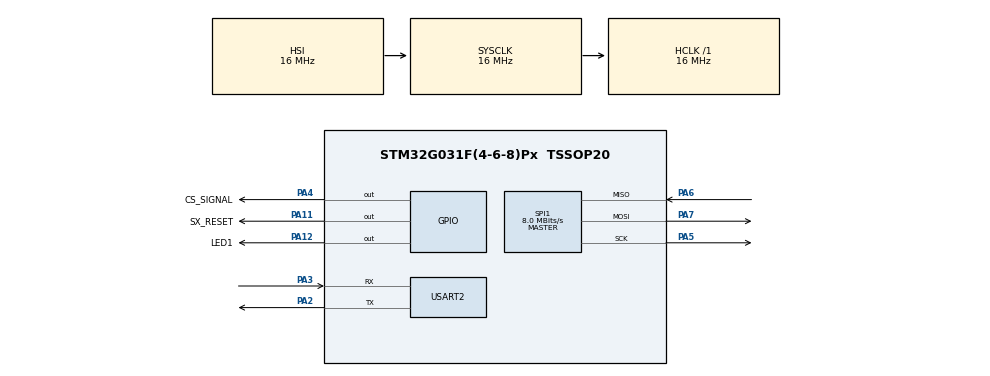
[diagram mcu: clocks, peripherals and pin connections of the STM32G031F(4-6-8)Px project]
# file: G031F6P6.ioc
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Mcu.Family=STM32G0
Mcu.Name=STM32G031F(4-6-8)Px
Mcu.Package=TSSOP20
NVIC.USART2_IRQn=true\:0\:0\:false\:false\:true\:true\:true\:true
PA11\ [PA9].GPIO_Label=SX_RESET
PA11\ [PA9].Signal=GPIO_Output
PA12\ [PA10].GPIO_Label=LED1
PA12\ [PA10].Signal=GPIO_Output
PA13.Mode=Serial_Wire
PA13.Signal=SYS_SWDIO
PA14-BOOT0.Mode=Serial_Wire
PA14-BOOT0.Signal=SYS_SWCLK
PA14-BOOT0__PA15.StandardMode=true
PA2.Mode=Asynchronous
PA2.Signal=USART2_TX
PA3.Mode=Asynchronous
PA3.Signal=USART2_RX
PA4.GPIO_Label=CS_SIGNAL
PA4.Signal=GPIO_Output
PA5.Mode=Full_Duplex_Master
PA5.Signal=SPI1_SCK
PA6.Mode=Full_Duplex_Master
PA6.Signal=SPI1_MISO
PA7.Mode=Full_Duplex_Master
PA7.Signal=SPI1_MOSI
PB0__PB1__PB2__PA8.StandardMode=true
PB3__PB4__PB5__PB6.StandardMode=true
PB7__PB8.StandardMode=true
PC14-OSC32_IN\ (PC14)__PB9.StandardMode=true
ProjectManager.HeapSize=0x200
ProjectManager.StackSize=0x400
ProjectManager.TargetToolchain=STM32CubeIDE
RCC.AHBFreq_Value=16000000
RCC.CortexFreq_Value=16000000
RCC.EXTERNAL_CLOCK_VALUE=12288000
RCC.HCLKFreq_Value=16000000
RCC.HSE_VALUE=8000000
RCC.HSI_VALUE=16000000
RCC.LSE_VALUE=32768
RCC.SYSCLKFreq_VALUE=16000000
RCC.VCOOutputFreq_Value=128000000
SPI1.CalculateBaudRate=8.0 MBits/s
SPI1.Direction=SPI_DIRECTION_2LINES
SPI1.Mode=SPI_MODE_MASTER
SPI1.VirtualType=VM_MASTER
USART2.VirtualMode-Asynchronous=VM_ASYNC
board=custom

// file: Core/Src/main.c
/* USER CODE BEGIN Header */
/**
  ******************************************************************************
  * @file           : main.c
  * @brief          : SX1255 interaktif kontrol konsolu (v7.0)
  *                   Renkli / satir-editorlu UART konsolu.
  *                   RX/TX/PA kontrolu, frekans, kazanc, register dokumu.
  *                   433 MHz Mode A, 36 MHz xtal. USART2 @ 115200 8N1
  ******************************************************************************
  */
/* USER CODE END Header */
#include "main.h"

/* USER CODE BEGIN Includes */
#include <string.h>
#include <stdlib.h>
/* USER CODE END Includes */

/* USER CODE BEGIN PD */
/* ---- SX1255 register haritasi ---- */
#define SX_MODE        0x00
#define SX_FRFH_RX     0x01
#define SX_FRFM_RX     0x02
#define SX_FRFL_RX     0x03
#define SX_FRFH_TX     0x04
#define SX_FRFM_TX     0x05
#define SX_FRFL_TX     0x06
#define SX_VERSION     0x07
#define SX_TXFE1       0x08   /* [6:4] dac_gain  [3:0] mixer_gain */
#define SX_TXFE2       0x09
#define SX_TXFE3       0x0A
#define SX_TXFE4       0x0B
#define SX_RXFE1       0x0C   /* [7:5] lna_gain  [4:1] pga_gain  [0] zin */
#define SX_RXFE2       0x0D
#define SX_RXFE3       0x0E
#define SX_IO_MAP      0x0F
#define SX_CK_SEL      0x10
#define SX_STAT        0x11
#define SX_IISM        0x12
#define SX_DIG_BRIDGE  0x13
#define SX_REG_MAX     0x13
#define SX_WRITE_FLAG  0x80

/* ---- MODE register bitleri ---- */
#define M_REF   0x01
#define M_RX    0x02
#define M_TX    0x04
#define M_DRV   0x08

/* ---- STAT register bitleri ---- */
#define S_PLL_TX 0x01
#define S_PLL_RX 0x02
#define S_XOSC   0x04

#define F_XOSC_HZ         36000000UL
#define F_MIN_HZ          400000000UL
#define F_MAX_HZ          510000000UL
#define RXBUF             96
#define STATUS_PERIOD_MS  1000
#define HEARTBEAT_MS      500

/* ---- ANSI renk kodlari ---- */
#define A_RST   "\033[0m"
#define A_BOLD  "\033[1m"
#define A_DIM   "\033[2m"
#define A_RED   "\033[91m"
#define A_GRN   "\033[92m"
#define A_YEL   "\033[93m"
#define A_CYN   "\033[96m"
#define A_MAG   "\033[95m"
/* USER CODE END PD */

SPI_HandleTypeDef hspi1;

UART_HandleTypeDef huart2;

/* USER CODE BEGIN PV */
volatile uint8_t  sx_alive    = 0;
volatile uint8_t  ver_id      = 0;
volatile uint8_t  stat_reg    = 0;
volatile uint8_t  mode_shadow = M_REF;
volatile uint8_t  mon_on      = 0;
volatile uint8_t  ansi_on     = 1;

/* Son yazilan degerlerin golgesi -> 'stat' ekraninda gostermek icin */
uint32_t f_rx_hz = 433000000UL;
uint32_t f_tx_hz = 433000000UL;
uint8_t  tx_dac  = 3;
uint8_t  tx_mix  = 15;
uint8_t  rx_lna  = 1;
uint8_t  rx_pga  = 15;

uint8_t  rx_dma[RXBUF];
char     acc[RXBUF];
volatile uint16_t acc_len = 0;
char     line[RXBUF];
volatile uint8_t  line_ready = 0;
/* USER CODE END PV */

void SystemClock_Config(void);
static void MX_GPIO_Init(void);
static void MX_SPI1_Init(void);
static void MX_USART2_UART_Init(void);
/* USER CODE BEGIN PFP */
uint8_t  sx_read(uint8_t addr);
void     sx_write(uint8_t addr, uint8_t val);
void     sx_manual_reset(void);
uint32_t sx_hz_to_frf(uint32_t hz);
void     sx_set_freq(uint8_t is_tx, uint32_t hz);
void     sx_apply_mode(void);
uint8_t  sx_bringup(void);
void     process_line(char *s);
void     print_banner(void);
void     print_help(void);
void     print_stat(void);
void     print_info(void);
void     print_prompt(void);
void     print_txgain(uint8_t dac, uint8_t mix);
void     uart_str(const char *s);
void     uart_ch(char c);
void     uart_hex(uint8_t b);
void     uart_u32(uint32_t v);
void     uart_i32(int32_t v);
void     uart_mhz(uint32_t hz);
/* USER CODE END PFP */

/* USER CODE BEGIN 0 */
static inline void SX_CS_LOW(void)  { HAL_GPIO_WritePin(CS_SIGNAL_GPIO_Port, CS_SIGNAL_Pin, GPIO_PIN_RESET); }
static inline void SX_CS_HIGH(void) { HAL_GPIO_WritePin(CS_SIGNAL_GPIO_Port, CS_SIGNAL_Pin, GPIO_PIN_SET);  }

/* ========================= UART yardimcilari ========================= */

void uart_str(const char *s) { HAL_UART_Transmit(&huart2, (uint8_t*)s, strlen(s), HAL_MAX_DELAY); }
void uart_ch(char c)         { HAL_UART_Transmit(&huart2, (uint8_t*)&c, 1, HAL_MAX_DELAY); }

/* ANSI kodunu sadece renk aciksa bas */
static void col(const char *code) { if (ansi_on) uart_str(code); }

void uart_hex(uint8_t b)
{
    const char h[] = "0123456789ABCDEF";
    char out[4] = { '0', 'x', h[b >> 4], h[b & 0x0F] };
    HAL_UART_Transmit(&huart2, (uint8_t*)out, 4, HAL_MAX_DELAY);
}
void uart_u32(uint32_t v)
{
    char tmp[12], buf[12]; uint8_t n = 0, i = 0;
    if (v == 0) { uart_str("0"); return; }
    while (v && n < 12) { tmp[n++] = (char)('0' + (v % 10)); v /= 10; }
    while (n) buf[i++] = tmp[--n];
    HAL_UART_Transmit(&huart2, (uint8_t*)buf, i, HAL_MAX_DELAY);
}
void uart_i32(int32_t v)
{
    if (v < 0) { uart_str("-"); v = -v; }
    else        uart_str("+");
    uart_u32((uint32_t)v);
}
/* 433000000 -> "433.000 MHz" */
void uart_mhz(uint32_t hz)
{
    uint32_t mhz = hz / 1000000UL;
    uint32_t khz = (hz % 1000000UL) / 1000UL;
    uart_u32(mhz);
    uart_str(".");
    if (khz < 100) uart_str("0");
    if (khz < 10)  uart_str("0");
    uart_u32(khz);
    uart_str(" MHz");
}
/* Sabit genislikte etiket: "  XOSC     : " */
static void field(const char *name)
{
    uart_str("  ");
    uart_str(name);
    uint8_t n = (uint8_t)strlen(name);
    while (n < 9) { uart_str(" "); n++; }
    uart_str(": ");
}
static void tag_ok(const char *txt)   { col(A_GRN); uart_str("[OK] "); uart_str(txt); col(A_RST); }
static void tag_bad(const char *txt)  { col(A_RED); uart_str("[!!] "); uart_str(txt); col(A_RST); }
static void tag_off(const char *txt)  { col(A_DIM); uart_str("[--] "); uart_str(txt); col(A_RST); }

static void msg_ok(const char *s)   { col(A_GRN); uart_str("  [OK] "); uart_str(s); col(A_RST); uart_str("\r\n"); }
static void msg_err(const char *s)  { col(A_RED); uart_str("  [!!] "); uart_str(s); col(A_RST); uart_str("\r\n"); }
static void msg_warn(const char *s) { col(A_YEL); uart_str("  [??] "); uart_str(s); col(A_RST); uart_str("\r\n"); }
static void msg_use(const char *s)  { col(A_DIM); uart_str("       kullanim: "); uart_str(s); col(A_RST); uart_str("\r\n"); }

/* ========================= SX1255 alt seviye ========================= */

uint8_t sx_read(uint8_t addr)
{
    uint8_t tx[2] = { (uint8_t)(addr & 0x7F), 0x00 };
    uint8_t rx[2] = { 0, 0 };
    SX_CS_LOW();
    HAL_SPI_TransmitReceive(&hspi1, tx, rx, 2, HAL_MAX_DELAY);
    SX_CS_HIGH();
    return rx[1];
}
void sx_write(uint8_t addr, uint8_t val)
{
    uint8_t tx[2] = { (uint8_t)(addr | SX_WRITE_FLAG), val };
    SX_CS_LOW();
    HAL_SPI_Transmit(&hspi1, tx, 2, HAL_MAX_DELAY);
    SX_CS_HIGH();
}
void sx_manual_reset(void)
{
    HAL_GPIO_WritePin(SX_RESET_GPIO_Port, SX_RESET_Pin, GPIO_PIN_SET);
    HAL_Delay(1);
    HAL_GPIO_WritePin(SX_RESET_GPIO_Port, SX_RESET_Pin, GPIO_PIN_RESET);
    HAL_Delay(6);
}

uint32_t sx_hz_to_frf(uint32_t hz)
{
    return (uint32_t)(((uint64_t)hz * 1048576ULL) / (uint64_t)F_XOSC_HZ);
}
static uint32_t parse_mhz_to_hz(const char *s)
{
    uint32_t ip = 0, frac = 0, div = 1;
    while (*s >= '0' && *s <= '9') { ip = ip * 10 + (uint32_t)(*s - '0'); s++; }
    if (*s == '.') {
        s++;
        while (*s >= '0' && *s <= '9' && div < 1000000UL) {
            frac = frac * 10 + (uint32_t)(*s - '0'); div *= 10; s++;
        }
    }
    uint64_t hz = (uint64_t)ip * 1000000ULL + (uint64_t)frac * 1000000ULL / div;
    return (uint32_t)hz;
}

void sx_set_freq(uint8_t is_tx, uint32_t hz)
{
    if (hz < F_MIN_HZ || hz > F_MAX_HZ)
        msg_warn("frekans 400-510 MHz bandinin disinda, PLL kilitlenmeyebilir");

    uint32_t frf = sx_hz_to_frf(hz);
    uint8_t h = (uint8_t)((frf >> 16) & 0xFF);
    uint8_t m = (uint8_t)((frf >> 8)  & 0xFF);
    uint8_t l = (uint8_t)( frf        & 0xFF);
    uint8_t base = is_tx ? SX_FRFH_TX : SX_FRFH_RX;

    sx_write(base + 0, h);
    sx_write(base + 1, m);
    sx_write(base + 2, l);

    if (is_tx) f_tx_hz = hz; else f_rx_hz = hz;

    uart_str("  ");
    col(A_CYN); uart_str(is_tx ? "TX" : "RX"); col(A_RST);
    uart_str(" frekans -> ");
    col(A_BOLD); uart_mhz(hz); col(A_RST);
    col(A_DIM);
    uart_str("   (Frf="); uart_hex(h); uart_hex(m); uart_hex(l); uart_str(")");
    col(A_RST);
    uart_str("\r\n");
}

static uint8_t wait_stat(uint8_t mask, uint32_t ms)
{
    uint32_t t0 = HAL_GetTick();
    while ((HAL_GetTick() - t0) < ms) {
        stat_reg = sx_read(SX_STAT);
        if (stat_reg & mask) return 1;
        HAL_Delay(2);
    }
    return 0;
}

void sx_apply_mode(void)
{
    sx_write(SX_MODE, mode_shadow);
    HAL_Delay(5);

    uart_str("  MODE = "); uart_hex(mode_shadow); uart_str("   ");
    col(A_DIM);
    uart_str("ref=");  uart_str((mode_shadow & M_REF) ? "1" : "0");
    uart_str("  rx="); uart_str((mode_shadow & M_RX)  ? "1" : "0");
    uart_str("  tx="); uart_str((mode_shadow & M_TX)  ? "1" : "0");
    uart_str("  pa="); uart_str((mode_shadow & M_DRV) ? "1" : "0");
    col(A_RST);
    uart_str("\r\n");

    if (mode_shadow & M_RX) {
        if (wait_stat(S_PLL_RX, 300)) msg_ok("RX PLL kilitlendi");
        else                          msg_err("RX PLL KILITLENMEDI - frekansi ve xtal'i kontrol et");
    }
    if (mode_shadow & M_TX) {
        if (wait_stat(S_PLL_TX, 300)) msg_ok("TX PLL kilitlendi");
        else                          msg_err("TX PLL KILITLENMEDI - frekansi ve xtal'i kontrol et");
    }
}

/* TX kazanci raporu.
 * Datasheet: mixer gain ~= -37.5 dB + 2*mix  (bagil)
 *            dac gain  : 0 -> max-9, 1 -> max-6, 2 -> max-3, 3 -> max (0 dBFS)
 * Mutlak cikis gucu antene/balun'a/kalibrasyona bagli. Bunlar BAGIL gostergedir. */
void print_txgain(uint8_t dac, uint8_t mix)
{
    int32_t mix_db = -37 + 2 * (int32_t)mix;
    const int8_t dac_off[4] = { -9, -6, -3, 0 };
    int32_t dac_db = dac_off[dac & 3];
    int32_t approx = 7 + dac_db + (mix_db - (-37 + 2 * 15));

    uart_str("  TX kazanc -> dac="); uart_u32(dac);
    col(A_DIM); uart_str(" ("); uart_i32(dac_db); uart_str(" dB)"); col(A_RST);
    uart_str("  mix="); uart_u32(mix);
    col(A_DIM); uart_str(" ("); uart_i32(mix_db); uart_str(" dB bagil)"); col(A_RST);
    uart_str("\r\n");

    uart_str("  yaklasik cikis: ");
    col(A_YEL); uart_i32(approx); uart_str(" dBm"); col(A_RST);
    col(A_DIM); uart_str("   (kaba kestirim, guc-metre ile dogrula)"); col(A_RST);
    uart_str("\r\n");
}

uint8_t sx_bringup(void)
{
    ver_id = sx_read(SX_VERSION);
    if (ver_id == 0x00 || ver_id == 0xFF) {
        msg_err("SPI'dan cevap yok (VER=0x00/0xFF) - MOSI/MISO/SCK/CS, besleme, RESET hattini kontrol et");
        return 0;
    }

    sx_write(SX_MODE, M_REF);
    if (!wait_stat(S_XOSC, 500)) {
        msg_err("XOSC kilitlenmedi - 36 MHz kristal / TCXO beslemesini kontrol et");
        return 0;
    }

    sx_write(SX_CK_SEL, 0x02);
        sx_write(SX_IISM,   0x00);
        sx_write(SX_RXFE1,  0x3F);   /* lna=1 (max), pga=15 */
        sx_write(SX_RXFE2,  0xF5);
        rx_lna = 1; rx_pga = 15;

        // 1. DEĞİŞİKLİK: Başlangıç frekansı 433 MHz yapıldı
        sx_set_freq(0, 446100000UL);
        sx_set_freq(1, 446100000UL);

        // 2. DEĞİŞİKLİK: TX Gücü yarıya düşürüldü (-3 dB)
        // dac=2 (-3 dBFS), mix=15 -> 0x2F (Binary: 0010 1111)
        sx_write(SX_TXFE1, 0x2F);
        tx_dac = 1; tx_mix = 5;

        /* REF + RX + TX + PA hepsi acik */
        mode_shadow = M_REF | M_RX | M_TX | M_DRV;
        sx_write(SX_MODE, mode_shadow);
    if (!wait_stat(S_PLL_RX, 300)) {
        msg_err("RX PLL kilitlenmedi");
        return 0;
    }

    if (!wait_stat(S_PLL_TX, 300)) {
        msg_err("TX PLL kilitlenmedi");
        return 0;
    }

    return 1;
}

/* ========================= Ekranlar ========================= */

void print_banner(void)
{
    uart_str("\r\n");
    col(A_CYN);
    uart_str("  .***************************************************=\r\n");
    uart_str("  .#%%%%%%%%%%%%%%%%%%%%%%%%%%%%%%%%%%%%%%%%%%%%%%####=\r\n");
    uart_str("  .#%%%%%%%%%%%%%%%%%%%%%%%%%%%%%%%%%%%%%%%%%######:+#=\r\n");
    uart_str("  .#%%%%%%%%%%%%%%%%%%%%%%%%%%%%%%%%%#%%%%%%####+..+##=\r\n");
    uart_str("  .#%%%%%%%%%%%%%%%%%%%%%%%%%%%%%%%%%%%%%#####-. .=###=\r\n");
    uart_str("  .#%%%%%%%%%%%%%%%%%%%%%%%%%%%%%%%%%%%#####.    -####=\r\n");
    uart_str("  .#%%%%%%%%%%%%%%%%%%%%%%%%%%%%%%#########*.   -#####=\r\n");
    uart_str("  .#%%%%%%%%%%%%%%%%%%%%%%%%%###########:-#*.  :######=\r\n");
    uart_str("  .#%%%%%%%%%%%%%%%%%%%%%#############:  -#*. .#######=\r\n");
    uart_str("  .#%%%%%%%%%%%%%%%%%%##############-    -#*.:########=\r\n");
    uart_str("  .#%%%%%%%%%%%%%%%%##############=.     -#*.#########=\r\n");
    uart_str("  .#%#%%%%%%%%%%%%%#############+.       -#*##########=\r\n");
    uart_str("  .##%%%%%%%%%%%%#############*.         -############=\r\n");
    uart_str("  .##%%%%%%%%%%%############*.           -############=\r\n");
    uart_str("  .##%%%%%%%%%%############:             -############=\r\n");
    uart_str("  .##%%%%%%%%%###########-.              -############=\r\n");
    uart_str("  .##%%%%%%%%%#########-.                -############=\r\n");
    uart_str("  .##%%%%%%%%########+.                  -############=\r\n");
    uart_str("  .##%%%%%%%#######+.                    -############=\r\n");
    uart_str("  .##%%%%%%%#####*.                      :------------:\r\n");
    uart_str("  .#%#%%%%%#####.   .-================.                  \r\n");
    uart_str("  .#%%%%%%%###. .:.=##################. :++++++++.       \r\n");
    uart_str("  .#%%%%%%%#=.:*:-######- :#*. +######. =**###***.       \r\n");
    uart_str("  .#%%%%##=.=#==#######: =#+..########.   .##*.########- \r\n");
    uart_str("  .#%%%%+.*%#+#######*. +#=.:#########.  .*##+...###=... \r\n");
    uart_str("  .#%%#=#%%#########*. *#=.-##########.  .###-  :###:    \r\n");
    uart_str("  .##*%%%%%%%##########*+###+*########.  .:::.  =###.    \r\n");
    uart_str("  .#%%%%%%%%%%%#######################.         *##=     \r\n");
    uart_str("  .....................................                  \r\n");
    col(A_RST);

    col(A_BOLD);
    uart_str("        K   A   R   G   A     L   A   B   S\r\n");
    col(A_RST);
}
void print_help(void)
{
	print_banner();
    uart_str("\r\n");
    col(A_BOLD); uart_str("  KOMUTLAR"); col(A_RST);
    col(A_DIM);  uart_str("   (buyuk/kucuk harf farketmez)"); col(A_RST);
    uart_str("\r\n\r\n");

    col(A_CYN); uart_str("  -- DURUM --------------------------------------\r\n"); col(A_RST);
    uart_str("   stat              durum ozeti (PLL, mod, frekans, kazanc)\r\n");
    uart_str("   info              tum register dokumu\r\n");
    uart_str("   mon on|off        her saniye otomatik durum yazdir\r\n\r\n");

    col(A_CYN); uart_str("  -- MOD ----------------------------------------\r\n"); col(A_RST);
    uart_str("   rx on|off         RX zinciri\r\n");
    uart_str("   tx on|off         TX zinciri\r\n");
    uart_str("   pa on|off         guc surucusu ");
    col(A_DIM); uart_str("(once 'tx on' gerekir)"); col(A_RST); uart_str("\r\n");
    uart_str("   standby           sadece referans osilator\r\n");
    uart_str("   sleep             tum bloklar kapali\r\n\r\n");

    col(A_CYN); uart_str("  -- FREKANS ------------------------------------\r\n"); col(A_RST);
    uart_str("   freq <MHz>        RX+TX birlikte    ");
    col(A_DIM); uart_str("or: freq 433.5"); col(A_RST); uart_str("\r\n");
    uart_str("   freq rx|tx <MHz>  tek tarafi ayarla\r\n");
    uart_str("   freq              mevcut degerleri goster\r\n\r\n");

    col(A_CYN); uart_str("  -- KAZANC -------------------------------------\r\n"); col(A_RST);
    uart_str("   txpower <0-15>    tek knob TX gucu  ");
    col(A_DIM); uart_str("(0=min 15=max)"); col(A_RST); uart_str("\r\n");
    uart_str("   txgain <dac 0-3> <mix 0-15>\r\n");
    uart_str("   rxgain <lna 1-6> <pga 0-15>   ");
    col(A_DIM); uart_str("(lna 1 = en yuksek kazanc)"); col(A_RST); uart_str("\r\n\r\n");

    col(A_CYN); uart_str("  -- HAM ERISIM ---------------------------------\r\n"); col(A_RST);
    uart_str("   rd <adr>          register oku     ");
    col(A_DIM); uart_str("or: rd 0x11"); col(A_RST); uart_str("\r\n");
    uart_str("   reg <adr> <deg>   register yaz     ");
    col(A_DIM); uart_str("or: reg 0x08 0x3F"); col(A_RST); uart_str("\r\n");
    uart_str("   reset             donanim reset + yeniden bring-up\r\n\r\n");

    col(A_CYN); uart_str("  -- DIGER --------------------------------------\r\n"); col(A_RST);
    uart_str("   ansi on|off       renkli cikti\r\n");
    uart_str("   help  /  ?        bu ekran\r\n\r\n");

    col(A_DIM);
    uart_str("  Ipucu: once 'stat' ile XOSC ve PLL kilidini dogrula.\r\n");
    uart_str("  Cikis gucu ~+7 dBm ile sinirlidir; fazlasi icin harici PA.\r\n");
    col(A_RST);
}

void print_stat(void)
{
    stat_reg      = sx_read(SX_STAT);
    uint8_t m     = sx_read(SX_MODE);
    uint8_t txfe1 = sx_read(SX_TXFE1);
    uint8_t rxfe1 = sx_read(SX_RXFE1);

    uart_str("\r\n");
    col(A_BOLD); uart_str("  ---- DURUM -----------------------------------\r\n"); col(A_RST);

    field("XOSC");
    if (stat_reg & S_XOSC) tag_ok("kilitli"); else tag_bad("kilitlenmedi");
    uart_str("\r\n");

    field("PLL RX");
    if (!(m & M_RX))            tag_off("kapali");
    else if (stat_reg & S_PLL_RX) tag_ok("kilitli");
    else                          tag_bad("kilitlenmedi");
    uart_str("\r\n");

    field("PLL TX");
    if (!(m & M_TX))            tag_off("kapali");
    else if (stat_reg & S_PLL_TX) tag_ok("kilitli");
    else                          tag_bad("kilitlenmedi");
    uart_str("\r\n");

    field("PA");
    if (m & M_DRV) { col(A_YEL); uart_str("[ON] surucu aktif"); col(A_RST); }
    else           tag_off("kapali");
    uart_str("\r\n");

    field("MODE");
    uart_hex(m);
    col(A_DIM);
    uart_str("   ref="); uart_str((m & M_REF) ? "1" : "0");
    uart_str(" rx=");    uart_str((m & M_RX)  ? "1" : "0");
    uart_str(" tx=");    uart_str((m & M_TX)  ? "1" : "0");
    uart_str(" pa=");    uart_str((m & M_DRV) ? "1" : "0");
    col(A_RST);
    uart_str("\r\n");

    field("RX frek");  uart_mhz(f_rx_hz); uart_str("\r\n");
    field("TX frek");  uart_mhz(f_tx_hz); uart_str("\r\n");

    field("TX gain");
    uart_str("dac="); uart_u32((uint32_t)((txfe1 >> 4) & 0x07));
    uart_str("  mix="); uart_u32((uint32_t)(txfe1 & 0x0F));
    col(A_DIM); uart_str("   TXFE1="); uart_hex(txfe1); col(A_RST);
    uart_str("\r\n");

    field("RX gain");
    uart_str("lna="); uart_u32((uint32_t)((rxfe1 >> 5) & 0x07));
    uart_str("  pga="); uart_u32((uint32_t)((rxfe1 >> 1) & 0x0F));
    col(A_DIM); uart_str("   RXFE1="); uart_hex(rxfe1); col(A_RST);
    uart_str("\r\n");

    field("Chip");
    uart_str("VER="); uart_hex(ver_id);
    col(A_DIM); uart_str("   STAT="); uart_hex(stat_reg); col(A_RST);
    uart_str("\r\n");

    col(A_BOLD); uart_str("  ----------------------------------------------\r\n"); col(A_RST);
}

static const char *reg_name(uint8_t a)
{
    switch (a) {
        case 0x00: return "MODE";
        case 0x01: return "FRFH_RX";
        case 0x02: return "FRFM_RX";
        case 0x03: return "FRFL_RX";
        case 0x04: return "FRFH_TX";
        case 0x05: return "FRFM_TX";
        case 0x06: return "FRFL_TX";
        case 0x07: return "VERSION";
        case 0x08: return "TXFE1";
        case 0x09: return "TXFE2";
        case 0x0A: return "TXFE3";
        case 0x0B: return "TXFE4";
        case 0x0C: return "RXFE1";
        case 0x0D: return "RXFE2";
        case 0x0E: return "RXFE3";
        case 0x0F: return "IO_MAP";
        case 0x10: return "CK_SEL";
        case 0x11: return "STAT";
        case 0x12: return "IISM";
        case 0x13: return "DIG_BRIDGE";
        default:   return "?";
    }
}

void print_info(void)
{
    uart_str("\r\n");
    col(A_BOLD); uart_str("  ---- REGISTER DOKUMU -------------------------\r\n"); col(A_RST);
    for (uint8_t a = 0; a <= SX_REG_MAX; a++) {
        uint8_t v = sx_read(a);
        uart_str("   ");
        uart_hex(a);
        uart_str("  ");
        const char *n = reg_name(a);
        uart_str(n);
        uint8_t k = (uint8_t)strlen(n);
        while (k < 12) { uart_str(" "); k++; }
        uart_hex(v);
        /* ikilik gosterim */
        col(A_DIM);
        uart_str("   b");
        for (int8_t b = 7; b >= 0; b--) uart_str((v & (1 << b)) ? "1" : "0");
        col(A_RST);
        uart_str("\r\n");
    }
    col(A_BOLD); uart_str("  ----------------------------------------------\r\n"); col(A_RST);
}

void print_prompt(void)
{
    col(A_CYN);
    uart_str("[");
    if (mode_shadow == 0x00) {
        uart_str("SLEEP");
    } else if (!(mode_shadow & (M_RX | M_TX))) {
        uart_str("STBY");
    } else {
        if (mode_shadow & M_RX) uart_str("RX");
        if (mode_shadow & M_TX) uart_str((mode_shadow & M_RX) ? "+TX" : "TX");
        if (mode_shadow & M_DRV) uart_str("+PA");
    }
    uart_str(" ");
    uart_mhz((mode_shadow & M_TX) ? f_tx_hz : f_rx_hz);
    uart_str("] > ");
    col(A_RST);
}

/* ========================= Komut isleyici ========================= */

static void str_lower(char *s) { for (; *s; s++) if (*s >= 'A' && *s <= 'Z') *s += 32; }
static int  str_eq(const char *a, const char *b) { return strcmp(a, b) == 0; }

static int onoff(const char *s, uint8_t *out)
{
    if (str_eq(s, "on")  || str_eq(s, "1")) { *out = 1; return 1; }
    if (str_eq(s, "off") || str_eq(s, "0")) { *out = 0; return 1; }
    return 0;
}

void process_line(char *s)
{
    char *argv[6]; int argc = 0;
    char *tok = strtok(s, " \t");
    while (tok && argc < 6) { argv[argc++] = tok; tok = strtok(NULL, " \t"); }
    if (argc == 0) { print_prompt(); return; }

    str_lower(argv[0]);
    uint8_t flag = 0;

    /* ---------- yardim / durum ---------- */
    if (str_eq(argv[0], "help") || str_eq(argv[0], "?") || str_eq(argv[0], "h")) {
        print_help();
    }
    else if (str_eq(argv[0], "stat") || str_eq(argv[0], "s")) {
        print_stat();
    }
    else if (str_eq(argv[0], "info") || str_eq(argv[0], "i")) {
        print_info();
    }
    else if (str_eq(argv[0], "ansi")) {
        if (argc >= 2) { str_lower(argv[1]); if (onoff(argv[1], &flag)) ansi_on = flag; }
        msg_ok(ansi_on ? "renkli cikti ACIK" : "renkli cikti KAPALI");
    }
    else if (str_eq(argv[0], "mon")) {
        if (argc >= 2) { str_lower(argv[1]); if (onoff(argv[1], &flag)) mon_on = flag; else { msg_err("gecersiz deger"); msg_use("mon on|off"); } }
        else { msg_err("eksik argüman"); msg_use("mon on|off"); }
        msg_ok(mon_on ? "otomatik durum ACIK (1 sn)" : "otomatik durum KAPALI");
    }

    /* ---------- mod kontrolu ---------- */
    else if (str_eq(argv[0], "rx")) {
        if (argc < 2) { msg_err("eksik argüman"); msg_use("rx on|off"); }
        else { str_lower(argv[1]);
            if (!onoff(argv[1], &flag)) { msg_err("gecersiz deger"); msg_use("rx on|off"); }
            else { if (flag) mode_shadow |= M_RX; else mode_shadow &= (uint8_t)~M_RX;
                   mode_shadow |= M_REF; sx_apply_mode(); } }
    }
    else if (str_eq(argv[0], "tx")) {
        if (argc < 2) { msg_err("eksik argüman"); msg_use("tx on|off"); }
        else { str_lower(argv[1]);
            if (!onoff(argv[1], &flag)) { msg_err("gecersiz deger"); msg_use("tx on|off"); }
            else { if (flag) mode_shadow |= M_TX; else mode_shadow &= (uint8_t)~(M_TX | M_DRV);
                   mode_shadow |= M_REF; sx_apply_mode(); } }
    }
    else if (str_eq(argv[0], "pa")) {
        if (argc < 2) { msg_err("eksik argüman"); msg_use("pa on|off"); }
        else { str_lower(argv[1]);
            if (!onoff(argv[1], &flag)) { msg_err("gecersiz deger"); msg_use("pa on|off"); }
            else if (flag) {
                if (!(mode_shadow & M_TX)) { msg_warn("TX zinciri kapali - once 'tx on' yaz"); }
                mode_shadow |= (M_TX | M_DRV | M_REF); sx_apply_mode();
            } else { mode_shadow &= (uint8_t)~M_DRV; sx_apply_mode(); } }
    }
    else if (str_eq(argv[0], "standby")) { mode_shadow = M_REF; sx_apply_mode(); msg_ok("STANDBY - sadece referans osilator"); }
    else if (str_eq(argv[0], "sleep"))   { mode_shadow = 0x00; sx_write(SX_MODE, 0x00); msg_ok("SLEEP - tum bloklar kapali"); }

    /* ---------- frekans ---------- */
    else if (str_eq(argv[0], "freq") || str_eq(argv[0], "f")) {
        if (argc == 1) {
            uart_str("  RX: "); uart_mhz(f_rx_hz); uart_str("\r\n");
            uart_str("  TX: "); uart_mhz(f_tx_hz); uart_str("\r\n");
        }
        else if (argc == 2) {                      /* freq 433.5  -> ikisi birden */
            uint32_t hz = parse_mhz_to_hz(argv[1]);
            if (hz == 0) { msg_err("frekans cozulemedi"); msg_use("freq 433.5   |   freq rx 433.5"); }
            else { sx_set_freq(0, hz); sx_set_freq(1, hz); }
        }
        else {
            str_lower(argv[1]);
            uint32_t hz = parse_mhz_to_hz(argv[2]);
            if (hz == 0)                       { msg_err("frekans cozulemedi"); msg_use("freq rx|tx|both <MHz>"); }
            else if (str_eq(argv[1], "rx"))    sx_set_freq(0, hz);
            else if (str_eq(argv[1], "tx"))    sx_set_freq(1, hz);
            else if (str_eq(argv[1], "both"))  { sx_set_freq(0, hz); sx_set_freq(1, hz); }
            else { msg_err("gecersiz hedef"); msg_use("freq rx|tx|both <MHz>"); }
        }
    }

    /* ---------- kazanc ---------- */
    else if (str_eq(argv[0], "txpower") || str_eq(argv[0], "p")) {
        if (argc < 2) {
            uart_str("  mevcut: dac="); uart_u32(tx_dac);
            uart_str("  mix=");        uart_u32(tx_mix); uart_str("\r\n");
            msg_use("txpower <0-15>");
        } else {
            uint32_t p = strtoul(argv[1], NULL, 0);
            if (p > 15) { msg_warn("15 uzeri deger 15'e kirpildi"); p = 15; }
            uint8_t dac = (p >= 12) ? 3 : (p >= 8) ? 2 : (p >= 4) ? 1 : 0;
            uint8_t v = (uint8_t)((dac << 4) | (p & 0x0F));
            sx_write(SX_TXFE1, v);
            tx_dac = dac; tx_mix = (uint8_t)p;
            col(A_DIM); uart_str("  TXFE1="); uart_hex(v); col(A_RST); uart_str("\r\n");
            print_txgain(dac, (uint8_t)p);
        }
    }
    else if (str_eq(argv[0], "txgain")) {
        if (argc < 3) {
            uart_str("  mevcut: dac="); uart_u32(tx_dac);
            uart_str("  mix=");        uart_u32(tx_mix); uart_str("\r\n");
            msg_use("txgain <dac 0-3> <mix 0-15>");
        } else {
            uint32_t d = strtoul(argv[1], NULL, 0);
            uint32_t x = strtoul(argv[2], NULL, 0);
            if (d > 3)  { msg_warn("dac 0-3 araliginda olmali, kirpildi"); d = 3;  }
            if (x > 15) { msg_warn("mix 0-15 araliginda olmali, kirpildi"); x = 15; }
            uint8_t v = (uint8_t)((d << 4) | x);
            sx_write(SX_TXFE1, v);
            tx_dac = (uint8_t)d; tx_mix = (uint8_t)x;
            col(A_DIM); uart_str("  TXFE1="); uart_hex(v); col(A_RST); uart_str("\r\n");
            print_txgain((uint8_t)d, (uint8_t)x);
        }
    }
    else if (str_eq(argv[0], "rxgain")) {
        if (argc < 3) {
            uart_str("  mevcut: lna="); uart_u32(rx_lna);
            uart_str("  pga=");        uart_u32(rx_pga); uart_str("\r\n");
            msg_use("rxgain <lna 1-6> <pga 0-15>");
        } else {
            uint32_t l = strtoul(argv[1], NULL, 0);
            uint32_t g = strtoul(argv[2], NULL, 0);
            if (l < 1 || l > 6) { msg_warn("lna 1-6 araliginda olmali, 1'e ayarlandi"); l = 1; }
            if (g > 15)         { msg_warn("pga 0-15 araliginda olmali, kirpildi");     g = 15; }
            uint8_t cur = sx_read(SX_RXFE1);
            uint8_t v = (uint8_t)((l << 5) | (g << 1) | (cur & 0x01));
            sx_write(SX_RXFE1, v);
            rx_lna = (uint8_t)l; rx_pga = (uint8_t)g;
            uart_str("  RX kazanc -> lna="); uart_u32(l);
            uart_str("  pga="); uart_u32(g);
            col(A_DIM); uart_str("   RXFE1="); uart_hex(v); col(A_RST);
            uart_str("\r\n");
        }
    }

    /* ---------- ham register ---------- */
    else if (str_eq(argv[0], "reg") || str_eq(argv[0], "w")) {
        if (argc < 3) { msg_err("eksik argüman"); msg_use("reg <adr> <deg>    or: reg 0x08 0x3F"); }
        else {
            uint8_t a = (uint8_t)strtoul(argv[1], NULL, 0);
            uint8_t v = (uint8_t)strtoul(argv[2], NULL, 0);
            sx_write(a, v);
            uint8_t back = sx_read(a);
            uart_str("  ["); uart_hex(a); uart_str("] ");
            uart_str(reg_name(a));
            uart_str("  yazilan="); uart_hex(v);
            uart_str("  okunan="); uart_hex(back);
            if (back == v) { col(A_GRN); uart_str("   OK"); col(A_RST); }
            else           { col(A_YEL); uart_str("   FARKLI (read-only bit olabilir)"); col(A_RST); }
            uart_str("\r\n");
        }
    }
    else if (str_eq(argv[0], "rd") || str_eq(argv[0], "r")) {
        if (argc < 2) { msg_err("eksik argüman"); msg_use("rd <adr>    or: rd 0x11"); }
        else {
            uint8_t a = (uint8_t)strtoul(argv[1], NULL, 0);
            uint8_t v = sx_read(a);
            uart_str("  ["); uart_hex(a); uart_str("] ");
            uart_str(reg_name(a));
            uart_str(" = "); uart_hex(v);
            col(A_DIM);
            uart_str("   b");
            for (int8_t b = 7; b >= 0; b--) uart_str((v & (1 << b)) ? "1" : "0");
            col(A_RST);
            uart_str("\r\n");
        }
    }

    /* ---------- reset ---------- */
    else if (str_eq(argv[0], "reset")) {
        uart_str("  donanim reset...\r\n");
        sx_manual_reset();
        sx_alive = sx_bringup();
        if (sx_alive) msg_ok("bring-up tamam - RX ve TX acik, 433.000 MHz");
        else          msg_err("bring-up BASARISIZ - 'info' ile register'lara bak");
    }

    else {
        col(A_RED); uart_str("  bilinmeyen komut: '"); uart_str(argv[0]); uart_str("'"); col(A_RST);
        uart_str("\r\n");
        col(A_DIM); uart_str("       komut listesi icin 'help' yaz\r\n"); col(A_RST);
    }

    print_prompt();
}
/* USER CODE END 0 */

int main(void)
{

  /* MCU Configuration--------------------------------------------------------*/

  /* Reset of all peripherals, Initializes the Flash interface and the Systick. */
  HAL_Init();

  /* Configure the system clock */
  SystemClock_Config();

  /* Initialize all configured peripherals */
  MX_GPIO_Init();
  MX_SPI1_Init();
  MX_USART2_UART_Init();
  /* USER CODE BEGIN 2 */
  SX_CS_HIGH();
  HAL_Delay(10);

  //print_banner();
  uart_str("  bring-up basliyor...\r\n\r\n");

  sx_manual_reset();
  sx_alive = sx_bringup();

  uart_str("\r\n");
  if (sx_alive) {
      col(A_GRN); col(A_BOLD);
      uart_str("  >> HAZIR - RX ve TX acik, 433.000 MHz  (VER="); uart_hex(ver_id); uart_str(")\r\n");
      col(A_RST);
  } else {
      col(A_RED); col(A_BOLD);
      uart_str("  >> BRING-UP BASARISIZ\r\n");
      col(A_RST);
      col(A_DIM);
      uart_str("     'info' ile register dokumune bak, 'reset' ile tekrar dene.\r\n");
      col(A_RST);
  }

  print_help();
  uart_str("\r\n");
  print_prompt();

  HAL_UARTEx_ReceiveToIdle_IT(&huart2, rx_dma, RXBUF);
  /* USER CODE END 2 */

  /* Infinite loop */
  /* USER CODE BEGIN WHILE */
  uint32_t last_status = 0;
  uint32_t last_blink  = 0;
  while (1)
  {
    /* USER CODE END WHILE */

    /* USER CODE BEGIN 3 */
    if (line_ready) { line_ready = 0; process_line(line); }

    if (mon_on && (HAL_GetTick() - last_status) >= STATUS_PERIOD_MS) {
        last_status = HAL_GetTick();
        print_stat();
        print_prompt();
    }

    /* Heartbeat: saglikliysa hizli, degilse yavas yanip soner */
    uint32_t now = HAL_GetTick();
    uint32_t period = HEARTBEAT_MS;
    if (sx_alive) {
        stat_reg = sx_read(SX_STAT);
        uint8_t healthy = (stat_reg & S_XOSC) &&
                          ((mode_shadow & M_RX) ? (stat_reg & S_PLL_RX) : 1) &&
                          ((mode_shadow & M_TX) ? (stat_reg & S_PLL_TX) : 1);
        period = healthy ? 100 : 500;
    }
    if ((now - last_blink) >= period) {
        last_blink = now;
        HAL_GPIO_TogglePin(LED1_GPIO_Port, LED1_Pin);
    }
  }
  /* USER CODE END 3 */
}

void SystemClock_Config(void)
{
  RCC_OscInitTypeDef RCC_OscInitStruct = {0};
  RCC_ClkInitTypeDef RCC_ClkInitStruct = {0};

  /** Configure the main internal regulator output voltage
  */
  HAL_PWREx_ControlVoltageScaling(PWR_REGULATOR_VOLTAGE_SCALE1);

  /** Initializes the RCC Oscillators according to the specified parameters
  * in the RCC_OscInitTypeDef structure.
  */
  RCC_OscInitStruct.OscillatorType = RCC_OSCILLATORTYPE_HSI;
  RCC_OscInitStruct.HSIState = RCC_HSI_ON;
  RCC_OscInitStruct.HSIDiv = RCC_HSI_DIV1;
  RCC_OscInitStruct.HSICalibrationValue = RCC_HSICALIBRATION_DEFAULT;
  RCC_OscInitStruct.PLL.PLLState = RCC_PLL_NONE;
  if (HAL_RCC_OscConfig(&RCC_OscInitStruct) != HAL_OK)
  {
    Error_Handler();
  }

  /** Initializes the CPU, AHB and APB buses clocks
  */
  RCC_ClkInitStruct.ClockType = RCC_CLOCKTYPE_HCLK|RCC_CLOCKTYPE_SYSCLK
                              |RCC_CLOCKTYPE_PCLK1;
  RCC_ClkInitStruct.SYSCLKSource = RCC_SYSCLKSOURCE_HSI;
  RCC_ClkInitStruct.AHBCLKDivider = RCC_SYSCLK_DIV1;
  RCC_ClkInitStruct.APB1CLKDivider = RCC_HCLK_DIV1;

  if (HAL_RCC_ClockConfig(&RCC_ClkInitStruct, FLASH_LATENCY_0) != HAL_OK)
  {
    Error_Handler();
  }
}

static void MX_SPI1_Init(void)
{

  /* SPI1 parameter configuration*/
  hspi1.Instance = SPI1;
  hspi1.Init.Mode = SPI_MODE_MASTER;
  hspi1.Init.Direction = SPI_DIRECTION_2LINES;
  hspi1.Init.DataSize = SPI_DATASIZE_8BIT;
  hspi1.Init.CLKPolarity = SPI_POLARITY_LOW;
  hspi1.Init.CLKPhase = SPI_PHASE_1EDGE;
  hspi1.Init.NSS = SPI_NSS_SOFT;
  hspi1.Init.BaudRatePrescaler = SPI_BAUDRATEPRESCALER_2;
  hspi1.Init.FirstBit = SPI_FIRSTBIT_MSB;
  hspi1.Init.TIMode = SPI_TIMODE_DISABLE;
  hspi1.Init.CRCCalculation = SPI_CRCCALCULATION_DISABLE;
  hspi1.Init.CRCPolynomial = 7;
  hspi1.Init.CRCLength = SPI_CRC_LENGTH_DATASIZE;
  hspi1.Init.NSSPMode = SPI_NSS_PULSE_ENABLE;
  if (HAL_SPI_Init(&hspi1) != HAL_OK)
  {
    Error_Handler();
  }

}

static void MX_USART2_UART_Init(void)
{

  huart2.Instance = USART2;
  huart2.Init.BaudRate = 115200;
  huart2.Init.WordLength = UART_WORDLENGTH_8B;
  huart2.Init.StopBits = UART_STOPBITS_1;
  huart2.Init.Parity = UART_PARITY_NONE;
  huart2.Init.Mode = UART_MODE_TX_RX;
  huart2.Init.HwFlowCtl = UART_HWCONTROL_NONE;
  huart2.Init.OverSampling = UART_OVERSAMPLING_16;
  huart2.Init.OneBitSampling = UART_ONE_BIT_SAMPLE_DISABLE;
  huart2.Init.ClockPrescaler = UART_PRESCALER_DIV1;
  huart2.AdvancedInit.AdvFeatureInit = UART_ADVFEATURE_NO_INIT;
  if (HAL_UART_Init(&huart2) != HAL_OK)
  {
    Error_Handler();
  }

}

static void MX_GPIO_Init(void)
{
  GPIO_InitTypeDef GPIO_InitStruct = {0};

  /* GPIO Ports Clock Enable */
  __HAL_RCC_GPIOA_CLK_ENABLE();

  /*Configure GPIO pin Output Level */
  HAL_GPIO_WritePin(GPIOA, CS_SIGNAL_Pin|SX_RESET_Pin|LED1_Pin, GPIO_PIN_RESET);

  /*Configure GPIO pins : CS_SIGNAL_Pin SX_RESET_Pin LED1_Pin */
  GPIO_InitStruct.Pin = CS_SIGNAL_Pin|SX_RESET_Pin|LED1_Pin;
  GPIO_InitStruct.Mode = GPIO_MODE_OUTPUT_PP;
  GPIO_InitStruct.Pull = GPIO_NOPULL;
  GPIO_InitStruct.Speed = GPIO_SPEED_FREQ_LOW;
  HAL_GPIO_Init(GPIOA, &GPIO_InitStruct);

}

/* USER CODE BEGIN 4 */
/* Satir editoru: echo, backspace, Ctrl+U (satiri sil).
 * Not: echo icin blocking HAL_UART_Transmit kullaniliyor; 115200'de
 * karakter basina ~87 us, konsol uygulamasi icin kabul edilebilir. */
void HAL_UARTEx_RxEventCallback(UART_HandleTypeDef *huart, uint16_t Size)
{
    if (huart->Instance == USART2) {
        for (uint16_t i = 0; i < Size; i++) {
            char c = (char)rx_dma[i];

            if (c == '\r' || c == '\n') {
                uart_str("\r\n");
                if (acc_len > 0 && !line_ready) {
                    memcpy(line, acc, acc_len);
                    line[acc_len] = 0;
                    line_ready = 1;
                } else if (acc_len == 0) {
                    print_prompt();
                }
                acc_len = 0;
            }
            else if (c == '\b' || c == 0x7F) {           /* backspace / delete */
                if (acc_len > 0) { acc_len--; uart_str("\b \b"); }
            }
            else if (c == 0x15) {                        /* Ctrl+U : satiri sil */
                while (acc_len > 0) { acc_len--; uart_str("\b \b"); }
            }
            else if (c == 0x03) {                        /* Ctrl+C : iptal */
                acc_len = 0;
                uart_str("^C\r\n");
                print_prompt();
            }
            else if (c >= 32 && c < 127 && acc_len < RXBUF - 1) {
                acc[acc_len++] = c;
                uart_ch(c);
            }
        }
        HAL_UARTEx_ReceiveToIdle_IT(&huart2, rx_dma, RXBUF);
    }
}
/* USER CODE END 4 */

void Error_Handler(void)
{
  __disable_irq();
  while (1)
  {
  }
}
